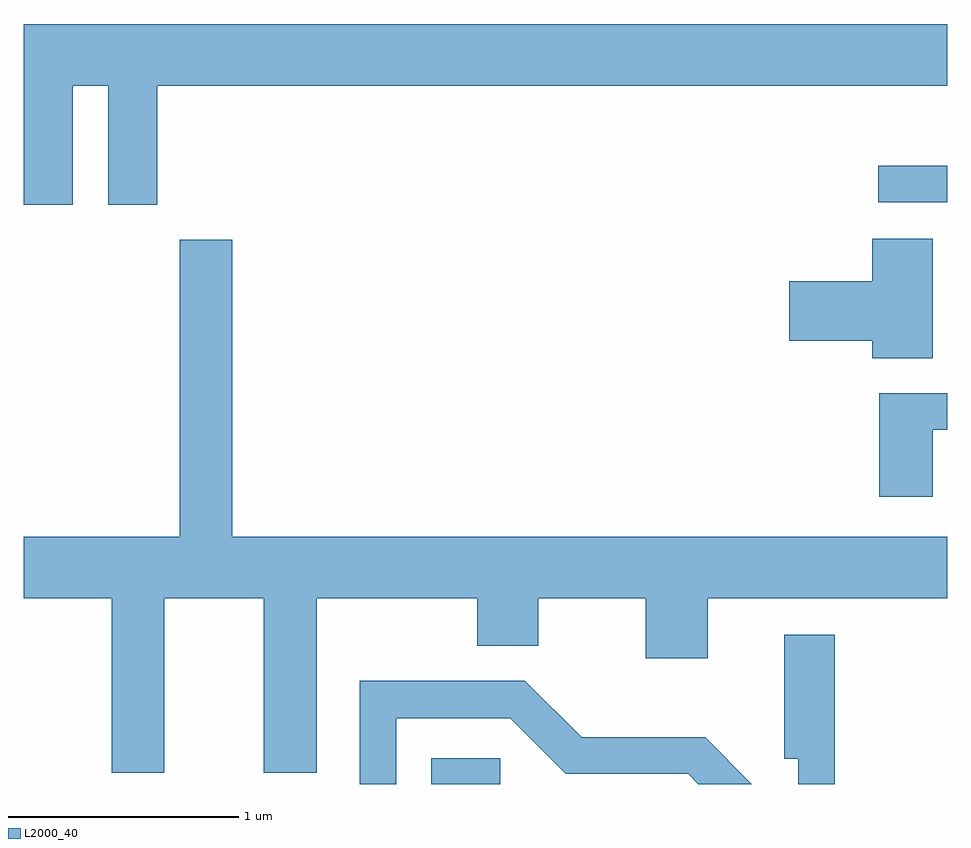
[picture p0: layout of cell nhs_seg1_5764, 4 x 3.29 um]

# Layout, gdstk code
import gdstk
lib = gdstk.Library(unit=1e-6, precision=1e-09)
def R(c, l, rs):  # rectangles x0, y0, x1, y1
    for r in rs: c.add(gdstk.rectangle(r[:2], r[2:], *l))
def P(c, l, *ps):  # polygons
    for p in ps: c.add(gdstk.Polygon(p, *l))
L2000_40 = (2000, 40)

nhs_seg1_5764 = lib.new_cell('nhs_seg1_5764')
R(nhs_seg1_5764, L2000_40, [(361.376,847.712,361.674,847.824), (363.313,850.231,363.611,850.389)])
P(nhs_seg1_5764, L2000_40, [(359.824,850.736),(359.976,850.736),(359.976,850.221),(360.189,850.221),(360.189,850.736),(363.611,850.736),(363.611,851.004),(359.611,851.004),(359.611,850.221),(359.824,850.221)],
  [(363.549,850.074),(363.286,850.074),(363.286,849.889),(362.926,849.889),(362.926,849.631),(363.286,849.631),(363.286,849.556),(363.549,849.556)],
  [(360.219,848.516),(360.651,848.516),(360.651,847.761),(360.879,847.761),(360.879,848.516),(361.576,848.516),(361.576,848.311),(361.839,848.311),(361.839,848.516),(362.306,848.516),(362.306,848.256),(362.574,848.256),(362.574,848.516),(363.611,848.516),(363.611,848.784),(360.514,848.784),(360.514,850.069),(360.286,850.069),(360.286,848.784),(359.611,848.784),(359.611,848.516),(359.991,848.516),(359.991,847.761),(360.219,847.761)],
  [(363.549,849.246),(363.611,849.246),(363.611,849.404),(363.316,849.404),(363.316,848.956),(363.549,848.956)],
  [(363.124,848.359),(362.906,848.359),(362.906,847.821),(362.966,847.821),(362.966,847.712),(363.124,847.712)],
  [(361.224,847.996),(361.719,847.996),(361.959,847.756),(362.489,847.756),(362.533,847.712),(362.764,847.712),(362.562,847.914),(362.027,847.914),(361.782,848.159),(361.066,848.159),(361.066,847.712),(361.224,847.712)])

lib.write_gds('nhs_seg1_5764.gds')
